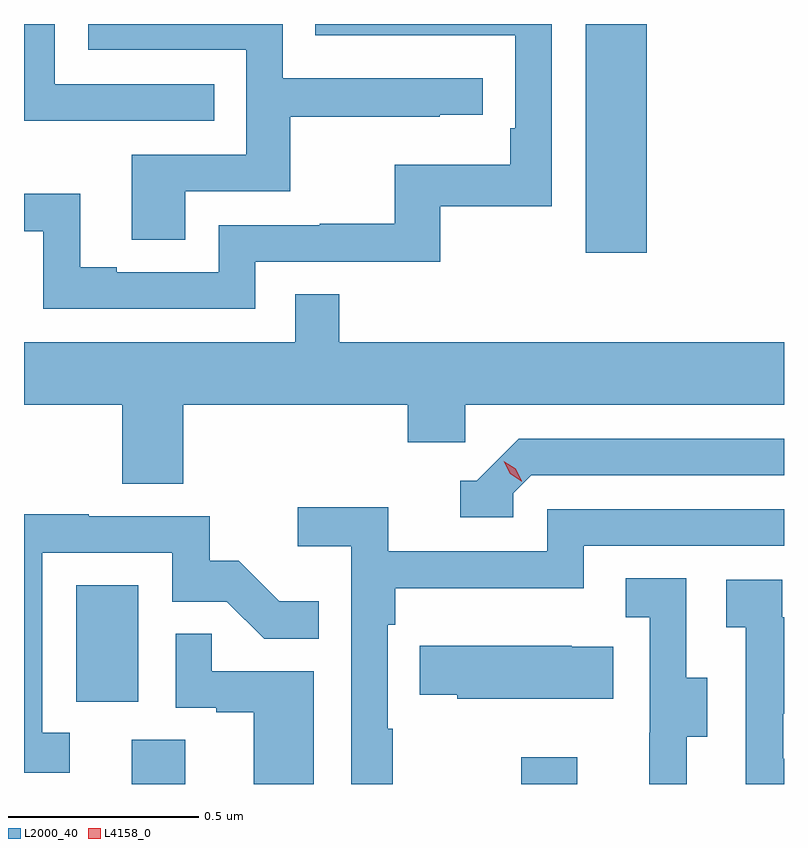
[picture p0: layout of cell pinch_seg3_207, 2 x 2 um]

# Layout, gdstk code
import gdstk
lib = gdstk.Library(unit=1e-6, precision=1e-09)
def R(c, l, rs):  # rectangles x0, y0, x1, y1
    for r in rs: c.add(gdstk.rectangle(r[:2], r[2:], *l))
def P(c, l, *ps):  # polygons
    for p in ps: c.add(gdstk.Polygon(p, *l))
L2000_40 = (2000, 40)
L4158_0 = (4158, 0)

pinch_seg3_207 = lib.new_cell('pinch_seg3_207')
R(pinch_seg3_207, L2000_40, [(968.885,739.878,969.025,739.994), (969.91,739.878,970.057,739.948), (968.738,740.094,968.902,740.401), (970.079,741.276,970.24,741.878)])
P(pinch_seg3_207, L2000_40, [(969.025,741.438),(969.302,741.438),(969.302,741.634),(969.695,741.634),(969.695,741.639),(969.808,741.639),(969.808,741.735),(969.282,741.735),(969.282,741.878),(968.77,741.878),(968.77,741.81),(969.186,741.81),(969.186,741.534),(968.885,741.534),(968.885,741.31),(969.025,741.31)],
  [(969.21,741.252),(969.697,741.252),(969.697,741.399),(969.99,741.399),(969.99,741.878),(969.367,741.878),(969.367,741.848),(969.581,741.848),(969.581,741.849),(969.894,741.849),(969.894,741.604),(969.881,741.604),(969.881,741.508),(969.576,741.508),(969.576,741.353),(969.379,741.353),(969.379,741.348),(969.114,741.348),(969.114,741.225),(968.845,741.225),(968.845,741.238),(968.749,741.238),(968.749,741.431),(968.601,741.431),(968.601,741.333),(968.652,741.333),(968.652,741.129),(969.21,741.129)],
  [(969.101,741.72),(968.682,741.72),(968.682,741.878),(968.601,741.878),(968.601,741.624),(969.101,741.624)],
  [(969.02,740.876),(969.611,740.876),(969.611,740.778),(969.762,740.778),(969.762,740.876),(970.601,740.876),(970.601,741.04),(969.431,741.04),(969.431,741.167),(969.315,741.167),(969.315,741.04),(968.601,741.04),(968.601,740.876),(968.86,740.876),(968.86,740.668),(969.02,740.668)],
  [(969.888,740.643),(969.936,740.691),(970.601,740.691),(970.601,740.787),(969.903,740.787),(969.792,740.676),(969.749,740.676),(969.749,740.58),(969.888,740.58)],
  [(969.571,740.024),(969.558,740.024),(969.558,740.297),(969.578,740.297),(969.578,740.393),(970.074,740.393),(970.074,740.505),(970.601,740.505),(970.601,740.601),(969.978,740.601),(969.978,740.49),(969.56,740.49),(969.56,740.606),(969.321,740.606),(969.321,740.504),(969.462,740.504),(969.462,739.878),(969.571,739.878)],
  [(968.722,740.013),(968.649,740.013),(968.649,740.487),(968.991,740.487),(968.991,740.358),(969.135,740.358),(969.233,740.26),(969.377,740.26),(969.377,740.359),(969.273,740.359),(969.166,740.466),(969.09,740.466),(969.09,740.583),(968.771,740.583),(968.771,740.588),(968.601,740.588),(968.601,739.908),(968.722,739.908)],
  [(970.345,740.002),(970.399,740.002),(970.399,740.157),(970.344,740.157),(970.344,740.42),(970.185,740.42),(970.185,740.317),(970.248,740.317),(970.248,740.013),(970.247,740.013),(970.247,739.878),(970.345,739.878)],
  [(970.601,739.944),(970.599,739.944),(970.599,740.063),(970.601,740.063),(970.601,740.317),(970.596,740.317),(970.596,740.415),(970.449,740.415),(970.449,740.291),(970.5,740.291),(970.5,739.878),(970.601,739.878)],
  [(969.364,740.175),(969.095,740.175),(969.095,740.273),(969,740.273),(969,740.079),(969.107,740.079),(969.107,740.067),(969.206,740.067),(969.206,739.878),(969.364,739.878)],
  [(970.151,740.239),(970.043,740.239),(970.043,740.242),(969.643,740.242),(969.643,740.113),(969.741,740.113),(969.741,740.102),(970.151,740.102)])
P(pinch_seg3_207, L4158_0, [(969.91,740.675),(969.88,740.695),(969.864,740.728),(969.864,740.728),(969.864,740.728),(969.895,740.708),(969.911,740.676),(969.911,740.675)])

lib.write_gds('pinch_seg3_207.gds')
